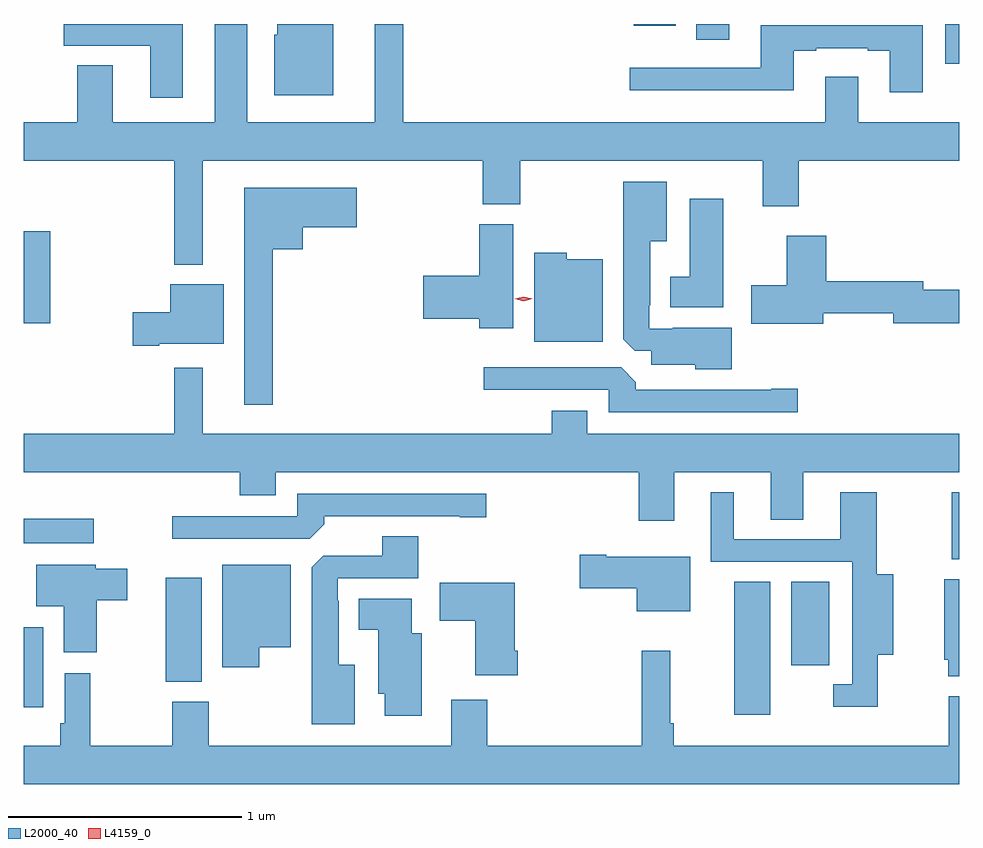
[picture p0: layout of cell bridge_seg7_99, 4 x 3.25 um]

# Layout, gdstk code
import gdstk
lib = gdstk.Library(unit=1e-6, precision=1e-09)
def R(c, l, rs):  # rectangles x0, y0, x1, y1
    for r in rs: c.add(gdstk.rectangle(r[:2], r[2:], *l))
def P(c, l, *ps):  # polygons
    for p in ps: c.add(gdstk.Polygon(p, *l))
L2000_40 = (2000, 40)
L4159_0 = (4159, 0)

bridge_seg7_99 = lib.new_cell('bridge_seg7_99')
R(bridge_seg7_99, L2000_40, [(1036.457,1004.907,1036.612,1005.476), (1033.42,1004.94,1033.504,1005.282), (1034.027,1005.049,1034.182,1005.493), (1036.7,1005.12,1036.864,1005.476), (1037.386,1005.573,1037.42,1005.859), (1033.42,1005.641,1033.72,1005.745), (1033.42,1006.581,1033.535,1006.975), (1037.36,1007.691,1037.42,1007.86), (1036.295,1007.793,1036.435,1007.86), (1036.028,1007.852,1036.207,1007.86)])
P(bridge_seg7_99, L2000_40, [(1034.101,1007.86),(1033.592,1007.86),(1033.592,1007.768),(1033.961,1007.768),(1033.961,1007.544),(1034.101,1007.544)],
  [(1034.185,1007.276),(1035.382,1007.276),(1035.382,1007.089),(1035.543,1007.089),(1035.543,1007.276),(1036.58,1007.276),(1036.58,1007.082),(1036.733,1007.082),(1036.733,1007.276),(1037.42,1007.276),(1037.42,1007.44),(1036.987,1007.44),(1036.987,1007.635),(1036.847,1007.635),(1036.847,1007.44),(1035.043,1007.44),(1035.043,1007.86),(1034.921,1007.86),(1034.921,1007.44),(1034.377,1007.44),(1034.377,1007.86),(1034.237,1007.86),(1034.237,1007.44),(1033.801,1007.44),(1033.801,1007.683),(1033.649,1007.683),(1033.649,1007.44),(1033.42,1007.44),(1033.42,1007.276),(1034.064,1007.276),(1034.064,1006.832),(1034.185,1006.832)],
  [(1034.743,1007.86),(1034.504,1007.86),(1034.504,1007.814),(1034.492,1007.814),(1034.492,1007.555),(1034.743,1007.555)],
  [(1037.263,1007.854),(1036.571,1007.854),(1036.571,1007.673),(1036.011,1007.673),(1036.011,1007.576),(1036.711,1007.576),(1036.711,1007.745),(1036.807,1007.745),(1036.807,1007.757),(1037.027,1007.757),(1037.027,1007.745),(1037.123,1007.745),(1037.123,1007.568),(1037.263,1007.568)],
  [(1036.447,1006.561),(1036.195,1006.561),(1036.195,1006.557),(1036.095,1006.557),(1036.095,1006.657),(1036.099,1006.657),(1036.099,1006.931),(1036.168,1006.931),(1036.168,1007.185),(1035.983,1007.185),(1035.983,1006.513),(1036.032,1006.464),(1036.103,1006.464),(1036.103,1006.403),(1036.29,1006.403),(1036.29,1006.385),(1036.447,1006.385)],
  [(1034.485,1006.898),(1034.614,1006.898),(1034.614,1006.991),(1034.845,1006.991),(1034.845,1007.161),(1034.363,1007.161),(1034.363,1006.233),(1034.485,1006.233)],
  [(1036.411,1007.113),(1036.268,1007.113),(1036.268,1006.78),(1036.184,1006.78),(1036.184,1006.649),(1036.411,1006.649)],
  [(1035.514,1007.004),(1035.368,1007.004),(1035.368,1006.784),(1035.129,1006.784),(1035.129,1006.601),(1035.368,1006.601),(1035.368,1006.56),(1035.514,1006.56)],
  [(1036.837,1006.624),(1037.138,1006.624),(1037.138,1006.582),(1037.42,1006.582),(1037.42,1006.724),(1037.266,1006.724),(1037.266,1006.76),(1036.85,1006.76),(1036.85,1006.954),(1036.682,1006.954),(1036.682,1006.743),(1036.53,1006.743),(1036.53,1006.58),(1036.837,1006.58)],
  [(1035.895,1006.855),(1035.741,1006.855),(1035.741,1006.882),(1035.602,1006.882),(1035.602,1006.502),(1035.895,1006.502)],
  [(1033.999,1006.493),(1034.275,1006.493),(1034.275,1006.747),(1034.048,1006.747),(1034.048,1006.628),(1033.887,1006.628),(1033.887,1006.486),(1033.999,1006.486)],
  [(1036.728,1006.301),(1036.616,1006.301),(1036.616,1006.296),(1036.037,1006.296),(1036.037,1006.33),(1035.975,1006.392),(1035.387,1006.392),(1035.387,1006.296),(1035.921,1006.296),(1035.921,1006.2),(1036.728,1006.2)],
  [(1036.201,1005.944),(1036.613,1005.944),(1036.613,1005.742),(1036.753,1005.742),(1036.753,1005.944),(1037.42,1005.944),(1037.42,1006.108),(1035.829,1006.108),(1035.829,1006.207),(1035.677,1006.207),(1035.677,1006.108),(1034.185,1006.108),(1034.185,1006.39),(1034.064,1006.39),(1034.064,1006.108),(1033.42,1006.108),(1033.42,1005.944),(1034.345,1005.944),(1034.345,1005.845),(1034.497,1005.845),(1034.497,1005.944),(1036.049,1005.944),(1036.049,1005.738),(1036.201,1005.738)],
  [(1037.071,1005.164),(1037.137,1005.164),(1037.137,1005.508),(1037.066,1005.508),(1037.066,1005.859),(1036.91,1005.859),(1036.91,1005.657),(1036.456,1005.657),(1036.456,1005.859),(1036.358,1005.859),(1036.358,1005.561),(1036.962,1005.561),(1036.962,1005.039),(1036.881,1005.039),(1036.881,1004.942),(1037.071,1004.942)],
  [(1034.705,1005.722),(1034.705,1005.756),(1035.284,1005.756),(1035.284,1005.751),(1035.397,1005.751),(1035.397,1005.852),(1034.589,1005.852),(1034.589,1005.756),(1034.055,1005.756),(1034.055,1005.66),(1034.643,1005.66)],
  [(1034.836,1005.121),(1034.767,1005.121),(1034.767,1005.395),(1034.763,1005.395),(1034.763,1005.492),(1035.107,1005.492),(1035.107,1005.671),(1034.954,1005.671),(1034.954,1005.588),(1034.7,1005.588),(1034.651,1005.539),(1034.651,1004.867),(1034.836,1004.867)],
  [(1036.27,1005.583),(1035.91,1005.583),(1035.91,1005.591),(1035.798,1005.591),(1035.798,1005.449),(1036.04,1005.449),(1036.04,1005.35),(1036.27,1005.35)],
  [(1033.732,1005.398),(1033.864,1005.398),(1033.864,1005.532),(1033.728,1005.532),(1033.728,1005.55),(1033.475,1005.55),(1033.475,1005.371),(1033.592,1005.371),(1033.592,1005.174),(1033.732,1005.174)],
  [(1034.428,1005.197),(1034.563,1005.197),(1034.563,1005.55),(1034.27,1005.55),(1034.27,1005.111),(1034.428,1005.111)],
  [(1037.42,1005.488),(1037.354,1005.488),(1037.354,1005.144),(1037.371,1005.144),(1037.371,1005.073),(1037.42,1005.073)],
  [(1035.533,1005.181),(1035.52,1005.181),(1035.52,1005.472),(1035.198,1005.472),(1035.198,1005.31),(1035.35,1005.31),(1035.35,1005.077),(1035.533,1005.077)],
  [(1035.121,1005.256),(1035.079,1005.256),(1035.079,1005.403),(1034.852,1005.403),(1034.852,1005.272),(1034.936,1005.272),(1034.936,1004.997),(1034.963,1004.997),(1034.963,1004.904),(1035.121,1004.904)],
  [(1037.42,1004.988),(1037.374,1004.988),(1037.374,1004.776),(1036.199,1004.776),(1036.199,1004.872),(1036.184,1004.872),(1036.184,1005.181),(1036.063,1005.181),(1036.063,1004.776),(1035.401,1004.776),(1035.401,1004.971),(1035.248,1004.971),(1035.248,1004.776),(1034.211,1004.776),(1034.211,1004.964),(1034.055,1004.964),(1034.055,1004.776),(1033.705,1004.776),(1033.705,1005.085),(1033.596,1005.085),(1033.596,1004.872),(1033.576,1004.872),(1033.576,1004.776),(1033.42,1004.776),(1033.42,1004.612),(1037.42,1004.612)])
P(bridge_seg7_99, L4159_0, [(1035.557,1006.675),(1035.52,1006.685),(1035.52,1006.685),(1035.52,1006.685),(1035.557,1006.695),(1035.594,1006.685),(1035.595,1006.685),(1035.594,1006.685)])

lib.write_gds('bridge_seg7_99.gds')
